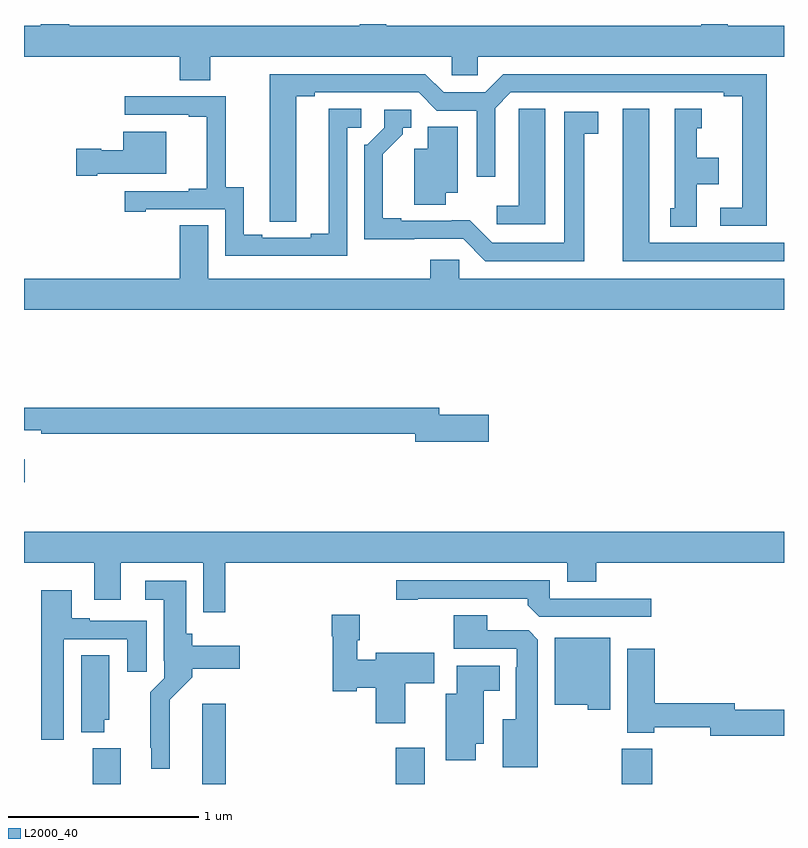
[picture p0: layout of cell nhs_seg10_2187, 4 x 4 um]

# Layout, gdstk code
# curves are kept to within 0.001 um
import gdstk
lib = gdstk.Library(unit=1e-6, precision=1e-09)
def R(c, l, rs):  # rectangles x0, y0, x1, y1
    for r in rs: c.add(gdstk.rectangle(r[:2], r[2:], *l))
def P(c, l, *ps):  # polygons
    for p in ps: c.add(gdstk.Polygon(p, *l))
L2000_40 = (2000, 40)

nhs_seg10_2187 = lib.new_cell('nhs_seg10_2187')
R(nhs_seg10_2187, L2000_40, [(227.362,1284.5,227.509,1284.688), (227.939,1284.5,228.062,1284.922), (228.956,1284.5,229.108,1284.691), (230.146,1284.5,230.306,1284.685), (227,1286.087,227.005,1286.209)])
P(nhs_seg10_2187, L2000_40, [(227.087,1288.5),(227.087,1288.492),(227,1288.492),(227,1288.328),(227.819,1288.328),(227.819,1288.204),(227.979,1288.204),(227.979,1288.328),(229.251,1288.328),(229.251,1288.23),(229.389,1288.23),(229.389,1288.328),(231,1288.328),(231,1288.492),(230.703,1288.492),(230.703,1288.5),(230.564,1288.5),(230.564,1288.492),(228.907,1288.492),(228.907,1288.5),(228.767,1288.5),(228.767,1288.492),(227.239,1288.492),(227.239,1288.5)],
  [(230.908,1288.236),(229.523,1288.236),(229.427,1288.14),(229.209,1288.14),(229.113,1288.236),(228.293,1288.236),(228.294,1287.46),(228.433,1287.46),(228.433,1288.12),(228.529,1288.12),(228.529,1288.14),(229.077,1288.14),(229.173,1288.044),(229.383,1288.044),(229.383,1287.696),(229.479,1287.696),(229.479,1288.056),(229.563,1288.14),(230.684,1288.14),(230.684,1288.12),(230.78,1288.12),(230.78,1287.534),(230.664,1287.534),(230.664,1287.438),(230.908,1287.438)],
  [(228.702,1287.954),(228.775,1287.954),(228.775,1288.055),(228.605,1288.055),(228.605,1287.395),(228.509,1287.395),(228.509,1287.375),(228.253,1287.375),(228.253,1287.39),(228.157,1287.39),(228.157,1287.641),(228.063,1287.641),(228.063,1288.119),(227.529,1288.119),(227.529,1288.023),(227.867,1288.023),(227.867,1288.011),(227.963,1288.011),(227.963,1287.634),(227.867,1287.634),(227.867,1287.621),(227.529,1287.621),(227.529,1287.513),(227.641,1287.513),(227.641,1287.525),(228.06,1287.525),(228.06,1287.279),(228.702,1287.279)],
  [(229.744,1288.055),(229.605,1288.055),(229.605,1287.947),(229.604,1287.947),(229.604,1287.544),(229.488,1287.544),(229.488,1287.447),(229.744,1287.447)],
  [(231,1287.348),(230.29,1287.348),(230.29,1288.054),(230.15,1288.054),(230.15,1287.252),(231,1287.252)],
  [(230.542,1287.656),(230.656,1287.656),(230.656,1287.796),(230.542,1287.796),(230.542,1287.951),(230.566,1287.951),(230.566,1288.054),(230.426,1288.054),(230.426,1287.531),(230.402,1287.531),(230.402,1287.433),(230.542,1287.433)],
  [(229.948,1287.922),(230.023,1287.922),(230.023,1288.038),(229.844,1288.038),(229.844,1287.348),(229.464,1287.348),(229.346,1287.466),(228.985,1287.465),(228.985,1287.478),(228.889,1287.478),(228.889,1287.814),(228.994,1287.919),(228.994,1287.954),(229.039,1287.954),(229.039,1288.05),(228.897,1288.05),(228.897,1287.954),(228.807,1287.864),(228.792,1287.864),(228.792,1287.368),(229.311,1287.369),(229.428,1287.252),(229.948,1287.252)],
  [(229.219,1287.611),(229.282,1287.611),(229.282,1287.959),(229.124,1287.959),(229.124,1287.844),(229.055,1287.844),(229.055,1287.55),(229.219,1287.55)],
  [(227.386,1287.713),(227.749,1287.713),(227.749,1287.934),(227.522,1287.934),(227.522,1287.835),(227.406,1287.835),(227.406,1287.843),(227.274,1287.843),(227.274,1287.701),(227.386,1287.701)],
  [(231,1287.16),(229.29,1287.16),(229.29,1287.258),(229.139,1287.258),(229.139,1287.16),(227.971,1287.16),(227.971,1287.44),(227.819,1287.44),(227.819,1287.16),(227,1287.16),(227,1286.996),(231,1286.996)],
  [(229.447,1286.444),(229.186,1286.444),(229.186,1286.48),(227,1286.48),(227,1286.363),(227.092,1286.363),(227.092,1286.344),(229.058,1286.344),(229.058,1286.302),(229.447,1286.302)],
  [(228.059,1285.664),(229.859,1285.664),(229.859,1285.565),(230.012,1285.565),(230.012,1285.664),(231,1285.664),(231,1285.828),(227,1285.828),(227,1285.664),(227.369,1285.664),(227.369,1285.47),(227.509,1285.47),(227.509,1285.664),(227.943,1285.664),(227.943,1285.404),(228.059,1285.404)],
  [(230.302,1285.476),(229.767,1285.476),(229.767,1285.572),(228.96,1285.572),(228.96,1285.471),(229.072,1285.471),(229.072,1285.476),(229.652,1285.476),(229.652,1285.442),(229.713,1285.38),(230.302,1285.38)],
  [(227.767,1284.944),(227.885,1285.062),(227.885,1285.106),(228.136,1285.106),(228.136,1285.228),(227.885,1285.228),(227.885,1285.29),(227.854,1285.29),(227.854,1285.57),(227.637,1285.57),(227.637,1285.469),(227.735,1285.469),(227.735,1285.15),(227.739,1285.15),(227.739,1285.056),(227.665,1284.982),(227.665,1284.691),(227.669,1284.691),(227.669,1284.581),(227.767,1284.581)],
  [(227.209,1285.263),(227.543,1285.263),(227.543,1285.092),(227.647,1285.092),(227.647,1285.359),(227.347,1285.359),(227.347,1285.372),(227.251,1285.372),(227.251,1285.519),(227.09,1285.519),(227.09,1284.732),(227.209,1284.732)],
  [(229.006,1285.03),(229.159,1285.03),(229.159,1285.192),(228.851,1285.192),(228.851,1285.154),(228.754,1285.154),(228.754,1285.257),(228.767,1285.257),(228.767,1285.39),(228.62,1285.39),(228.62,1285.277),(228.625,1285.277),(228.625,1284.989),(228.75,1284.989),(228.75,1285.007),(228.851,1285.007),(228.851,1284.819),(229.006,1284.819)],
  [(229.705,1285.259),(229.656,1285.308),(229.438,1285.308),(229.438,1285.387),(229.262,1285.387),(229.262,1285.212),(229.593,1285.212),(229.593,1285.115),(229.589,1285.115),(229.589,1284.841),(229.52,1284.841),(229.52,1284.587),(229.705,1284.587)],
  [(230.086,1285.27),(229.793,1285.27),(229.793,1284.917),(229.968,1284.917),(229.968,1284.89),(230.086,1284.89)],
  [(231,1284.89),(230.74,1284.89),(230.74,1284.926),(230.321,1284.926),(230.321,1285.213),(230.174,1285.213),(230.174,1284.77),(230.316,1284.77),(230.316,1284.798),(230.612,1284.798),(230.612,1284.755),(231,1284.755)],
  [(227.422,1284.837),(227.449,1284.837),(227.449,1285.178),(227.3,1285.178),(227.3,1284.773),(227.422,1284.773)],
  [(229.378,1284.713),(229.42,1284.713),(229.42,1284.992),(229.504,1284.992),(229.504,1285.123),(229.277,1285.123),(229.277,1284.976),(229.22,1284.976),(229.22,1284.624),(229.378,1284.624)])

lib.write_gds('nhs_seg10_2187.gds')
